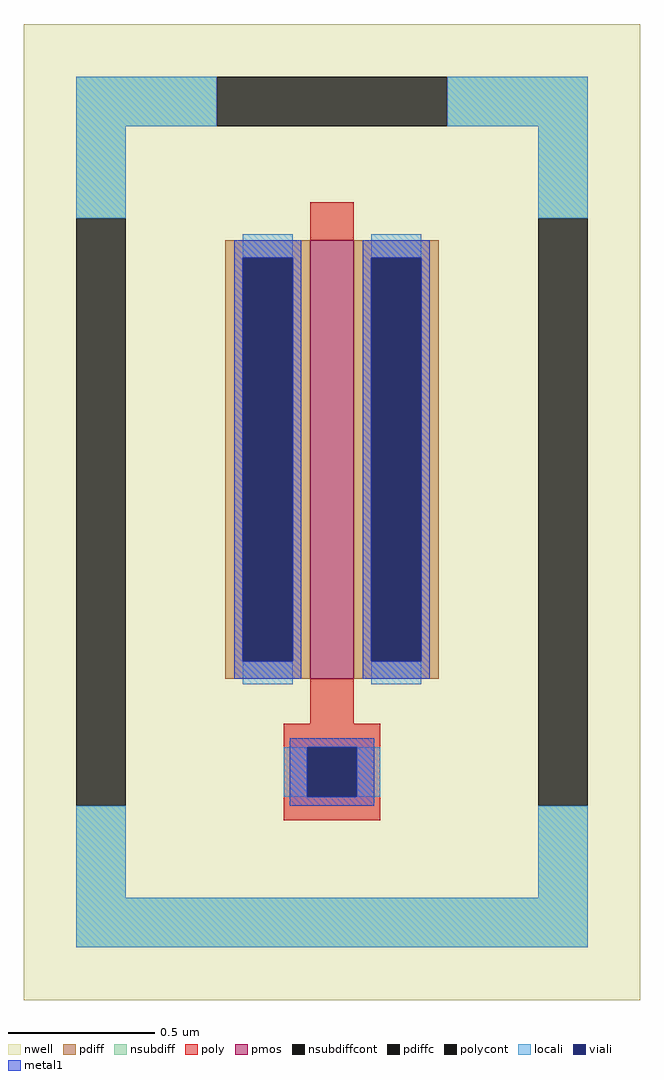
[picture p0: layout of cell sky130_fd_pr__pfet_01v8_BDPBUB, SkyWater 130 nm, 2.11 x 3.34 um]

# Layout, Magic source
magic
tech sky130A
magscale 1 2
<< nwell >>
rect -211 -334 211 334
<< pmos >>
rect -15 -114 15 186
<< pdiff >>
rect -73 174 -15 186
rect -73 -102 -61 174
rect -27 -102 -15 174
rect -73 -114 -15 -102
rect 15 174 73 186
rect 15 -102 27 174
rect 61 -102 73 174
rect 15 -114 73 -102
<< pdiffc >>
rect -61 -102 -27 174
rect 27 -102 61 174
<< nsubdiff >>
rect -175 264 -79 298
rect 79 264 175 298
rect -175 201 -141 264
rect 141 201 175 264
rect -175 -264 -141 -201
rect 141 -264 175 -201
rect -175 -298 175 -264
<< nsubdiffcont >>
rect -79 264 79 298
rect -175 -201 -141 201
rect 141 -201 175 201
<< poly >>
rect -15 186 15 212
rect -15 -145 15 -114
rect -33 -161 33 -145
rect -33 -195 -17 -161
rect 17 -195 33 -161
rect -33 -211 33 -195
<< polycont >>
rect -17 -195 17 -161
<< locali >>
rect -175 264 -79 298
rect 79 264 175 298
rect -175 201 -141 264
rect 141 201 175 264
rect -61 174 -27 190
rect -61 -118 -27 -102
rect 27 174 61 190
rect 27 -118 61 -102
rect -33 -195 -17 -161
rect 17 -195 33 -161
rect -175 -264 -141 -201
rect 141 -264 175 -201
rect -175 -298 175 -264
<< viali >>
rect -61 -102 -27 174
rect 27 -102 61 174
rect -17 -195 17 -161
<< metal1 >>
rect -67 174 -21 186
rect -67 -102 -61 174
rect -27 -102 -21 174
rect -67 -114 -21 -102
rect 21 174 67 186
rect 21 -102 27 174
rect 61 -102 67 174
rect 21 -114 67 -102
rect -29 -161 29 -155
rect -29 -195 -17 -161
rect 17 -195 29 -161
rect -29 -201 29 -195
<< properties >>
string gencell sky130_fd_pr__pfet_01v8
string FIXED_BBOX -158 -281 158 281
string parameters w 1.5 l 0.15 m 1 nf 1 diffcov 100 polycov 100 guard 1 glc 1 grc 1 gtc 1 gbc 0 tbcov 100 rlcov 100 topc 0 botc 1 poverlap 0 doverlap 1 lmin 0.15 wmin 0.42 compatible {sky130_fd_pr__pfet_01v8  sky130_fd_pr__pfet_01v8_lvt sky130_fd_pr__pfet_01v8_hvt  sky130_fd_pr__pfet_g5v0d10v5} full_metal 1 viagl 0 viagr 0 viagt 0 viagb 0 viagate 100 viadrn 100 viasrc 100
string library sky130
<< end >>
